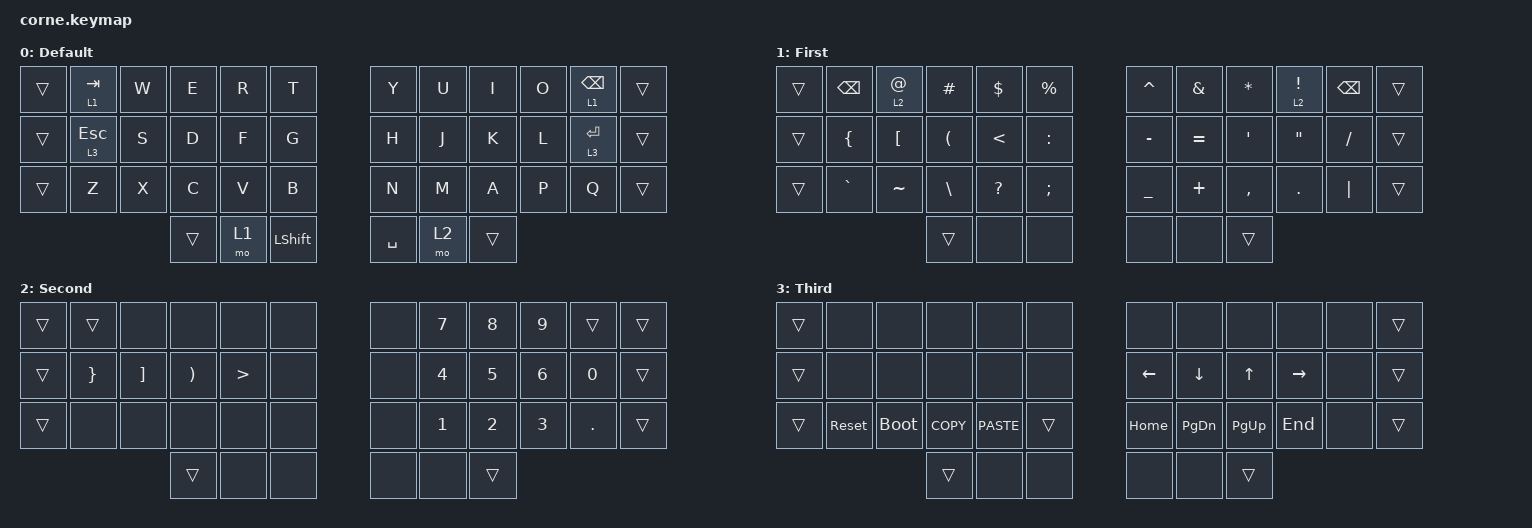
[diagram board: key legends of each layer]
/*
 * Copyright (c) 2020 The ZMK Contributors
 *
 * SPDX-License-Identifier: MIT
 */

#include <behaviors.dtsi>
#include <dt-bindings/zmk/keys.h>



#define DEFAULT 0
#define FIRST 1
#define SECOND 2
#define THIRD 3



/ {

        behaviors {
            mhp: behavior_mo_tap {
                compatible = "zmk,behavior-hold-tap";
                label = "mo_tog";
                #binding-cells = <2>;
                flavor = "hold-preferred";
                tapping-term-ms = <200>;
                bindings = <&mo>, <&kp>;
            };
        };

       combos {
            compatible = "zmk,combos";
            combo_lgui {
                timeout-ms = <50>;
                key-positions = <2 3>;
                bindings = <&kp LGUI>;
                layers = <0>;
            };
            combo_lctl {
                timeout-ms = <50>;
                key-positions = <14 15>;
                bindings = <&kp LCTRL>;
                layers = <0>;
            };
            combo_lalt {
                timeout-ms = <50>;
                key-positions = <26 27>;
                bindings = <&kp LALT>;
                layers = <0>;
            };
           combo_lalt_sht {
                timeout-ms = <50>;
                key-positions = <15 16>;
                bindings = <&kp LS(LALT)>;
                layers = <0>;
            };
            combo_rgui {
                timeout-ms = <50>;
                key-positions = <8 9>;
                bindings = <&kp RGUI>;
                layers = <0>;
            };
            combo_rctrl {
                timeout-ms = <50>;
                key-positions = <20 21>;
                bindings = <&kp RCTRL>;
                layers = <0>;
            };
            combo_ratl {
                timeout-ms = <50>;
                key-positions = <32 33>;
                bindings = <&kp RALT>;
                layers = <0>;
            };
            combo_ratl_sht {
                timeout-ms = <50>;
                key-positions = <19 20>;
                bindings = <&kp RS(RALT)>;
                layers = <0>;
            };
            combo_rnum {
                timeout-ms = <50>;
                key-positions = <9 10>;
                bindings = <&mo 2>;
                layers = <0>;
            };
            combo_lnum {
                timeout-ms = <50>;
                key-positions = <1 2>;
                bindings = <&mo 2>;
                slow-release;
                layers = <0>;
            };
        };

        keymap {
                compatible = "zmk,keymap";
		            label = "Zerosprey42";
		
                default_layer {
                label = "Default";
                	bindings = <

   &trans  &mhp 1 TAB    &kp W  &kp E  &kp R  &kp T           &kp Y   &kp U  &kp I    &kp O    &mhp 1 BSPC &trans  
   &trans  &mhp 3 ESC  &kp S  &kp D  &kp F  &kp G           &kp H   &kp J  &kp K    &kp L    &mhp 3 RET  &trans  
   &trans  &kp Z      &kp X  &kp C  &kp V  &kp B           &kp N   &kp M  &kp A &kp P  &kp Q &trans  
                            &trans   &mo 1  &kp LSHIFT      &kp SPACE      &mo 2 &trans   
                         >;
                };

                first_later {
                label = "First";
                	bindings = <
   &trans  &kp BSPC   &mhp 2 AT  &kp HASH  &kp DLLR   &kp PRCNT  &kp CARET  &kp AMPS  &kp STAR   &mhp 2 EXCL  &kp BSPC &trans  
   &trans  &kp LBRC   &kp LBKT   &kp LPAR  &kp LT     &kp COLON  &kp MINUS  &kp EQUAL &kp SQT    &kp DQT      &kp FSLH &trans  
   &trans  &kp GRAVE  &kp TILDE  &kp BSLH  &kp QMARK  &kp SEMI   &kp UNDER  &kp PLUS  &kp COMMA  &kp DOT      &kp PIPE &trans  
                            &trans   &none  &none  &none  &none  &trans  
                         >;
                };
                second_later {
                label = "Second";
                	bindings = <
   &trans  &trans    &none     &none     &none   &none   &none   &kp N7  &kp N8  &kp N9  &trans &trans  
   &trans  &kp RBRC  &kp RBKT  &kp RPAR  &kp GT  &none   &none   &kp N4  &kp N5  &kp N6  &kp N0 &trans  
   &trans  &none     &none     &none     &none   &none   &none   &kp N1  &kp N2  &kp N3  &kp DOT &trans  
                           &trans   &none  &none  &none  &none &trans 
                         >;
                };

                third_later {
                label = "Third";
                	bindings = <
   &trans  &none       &none        &none       &none        &none     &none     &none      &none      &none      &none &trans  
   &trans  &none       &none        &none       &none        &none     &kp LEFT  &kp DOWN   &kp UP     &kp RIGHT  &none  &trans  
   &trans  &sys_reset  &bootloader  &kp K_COPY  &kp K_PASTE  &trans    &kp HOME  &kp PG_DN  &kp PG_UP  &kp END    &none  &trans  
                           &trans   &none       &none  &none &none &trans  
                         >;
                };

        };
};
